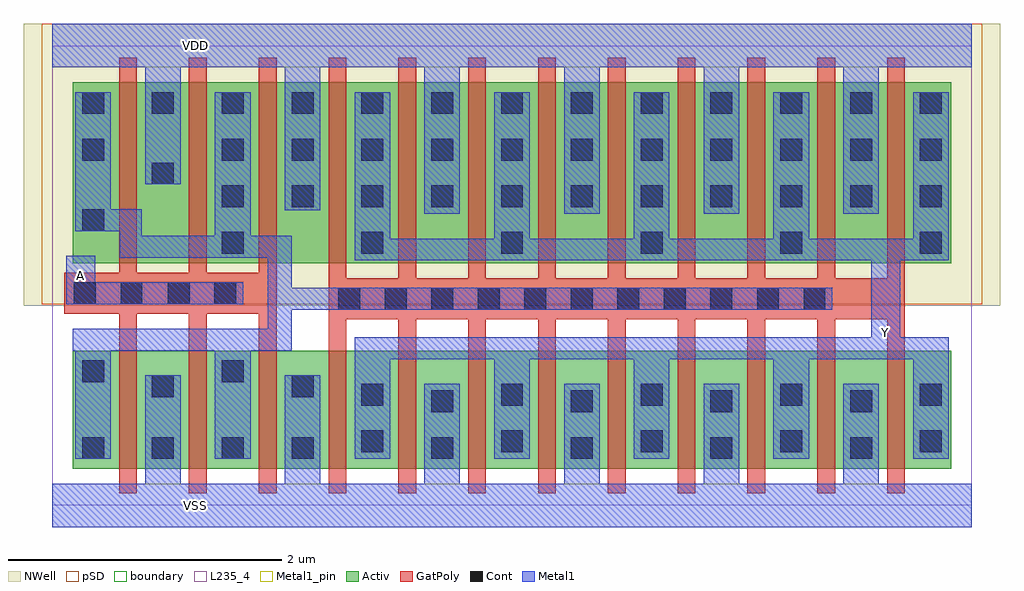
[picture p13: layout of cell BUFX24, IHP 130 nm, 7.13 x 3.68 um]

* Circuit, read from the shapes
.subckt BUFX24 A VDD VSS Y
XM1 VSS A n1 VSUBS sg13_lv_nmos w=0.86u l=0.13u m=3
XM2 Y n1 VSS VSUBS sg13_lv_nmos w=0.86u l=0.13u m=9
XM3 VDD A n1 n2 sg13_lv_pmos w=1.32u l=0.13u m=3
XM4 Y n1 VDD n2 sg13_lv_pmos w=1.32u l=0.13u m=9
.ends

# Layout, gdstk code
import gdstk
lib = gdstk.Library(unit=1e-6, precision=1e-09)
def R(c, l, rs):  # rectangles x0, y0, x1, y1
    for r in rs: c.add(gdstk.rectangle(r[:2], r[2:], *l))
def A(c, l, x, y, w, h, nx, ny, dx, dy):  # array of equal rectangles
    R(c, l, [(x+i*dx, y+j*dy, x+i*dx+w, y+j*dy+h) for i in range(nx) for j in range(ny)])
def P(c, l, *ps):  # polygons
    for p in ps: c.add(gdstk.Polygon(p, *l))
Activ = (1, 0)
GatPoly = (5, 0)
Cont = (6, 0)
Metal1 = (8, 0)
Metal1_pin = (8, 2)
pSD = (14, 0)
NWell = (31, 0)
boundary = (189, 4)
L235_4 = (235, 4)

bufx24 = lib.new_cell('BUFX24')
R(bufx24, Activ, [(0.15,0.27,6.57,1.13), (0.15,1.77,6.57,3.09)])
P(bufx24, GatPoly, [(2.02,0.09),(2.02,3.27),(2.15,3.27),(2.15,1.66),(2.53,1.66),(2.53,3.27),(2.66,3.27),(2.66,1.66),(3.04,1.66),(3.04,3.27),(3.17,3.27),(3.17,1.66),(3.55,1.66),(3.55,3.27),(3.68,3.27),(3.68,1.66),(4.06,1.66),(4.06,3.27),(4.19,3.27),(4.19,1.66),(4.57,1.66),(4.57,3.27),(4.7,3.27),(4.7,1.66),(5.08,1.66),(5.08,3.27),(5.21,3.27),(5.21,1.66),(5.59,1.66),(5.59,3.27),(5.72,3.27),(5.72,1.66),(6.1,1.66),(6.1,3.27),(6.23,3.27),(6.23,0.09),(6.1,0.09),(6.1,1.36),(5.72,1.36),(5.72,0.09),(5.59,0.09),(5.59,1.36),(5.21,1.36),(5.21,0.09),(5.08,0.09),(5.08,1.36),(4.7,1.36),(4.7,0.09),(4.57,0.09),(4.57,1.36),(4.19,1.36),(4.19,0.09),(4.06,0.09),(4.06,1.36),(3.68,1.36),(3.68,0.09),(3.55,0.09),(3.55,1.36),(3.17,1.36),(3.17,0.09),(3.04,0.09),(3.04,1.36),(2.66,1.36),(2.66,0.09),(2.53,0.09),(2.53,1.36),(2.15,1.36),(2.15,0.09)],
  [(0.49,0.09),(0.49,1.4),(0.09,1.4),(0.09,1.7),(0.49,1.7),(0.49,3.27),(0.62,3.27),(0.62,1.7),(1,1.7),(1,3.27),(1.13,3.27),(1.13,1.7),(1.51,1.7),(1.51,3.27),(1.64,3.27),(1.64,0.09),(1.51,0.09),(1.51,1.4),(1.13,1.4),(1.13,0.09),(1,0.09),(1,1.4),(0.62,1.4),(0.62,0.09)])
A(bufx24, Cont, 0.22, 0.34, 0.16, 0.16, 4, 1, 0.51, 0)
A(bufx24, Cont, 2.77, 0.34, 0.16, 0.16, 4, 2, 1.02, 0.34)
A(bufx24, Cont, 2.26, 0.39, 0.16, 0.16, 5, 2, 1.02, 0.34)
A(bufx24, Cont, 2.09, 1.43, 0.16, 0.16, 11, 1, 0.34, 0)
A(bufx24, Cont, 1.24, 1.84, 0.16, 0.16, 6, 1, 1.02, 0)
A(bufx24, Cont, 1.24, 2.18, 0.16, 0.16, 11, 2, 0.51, 0.34)
A(bufx24, Cont, 0.22, 2.86, 0.16, 0.16, 13, 1, 0.51, 0)
R(bufx24, Cont, [(0.73,0.79,0.89,0.95), (1.75,0.79,1.91,0.95), (0.22,0.9,0.38,1.06), (1.24,0.9,1.4,1.06), (0.16,1.47,0.32,1.63), (0.5,1.47,0.66,1.63), (0.845,1.47,1.005,1.63), (1.185,1.47,1.345,1.63), (0.22,2.005,0.38,2.165), (0.73,2.345,0.89,2.505), (0.22,2.52,0.38,2.68)])
P(bufx24, Metal1, [(0,-0.16),(0,0.16),(0.68,0.16),(0.68,0.95),(0.94,0.95),(0.94,0.16),(1.7,0.16),(1.7,0.95),(1.96,0.95),(1.96,0.16),(2.72,0.16),(2.72,0.89),(2.98,0.89),(2.98,0.16),(3.74,0.16),(3.74,0.89),(4,0.89),(4,0.16),(4.76,0.16),(4.76,0.89),(5.02,0.89),(5.02,0.16),(5.78,0.16),(5.78,0.89),(6.04,0.89),(6.04,0.16),(6.72,0.16),(6.72,-0.16)],
  [(2.72,2.13),(2.72,3.2),(1.96,3.2),(1.96,2.155),(1.7,2.155),(1.7,3.2),(0.94,3.2),(0.94,2.345),(0.68,2.345),(0.68,3.2),(0,3.2),(0,3.52),(6.72,3.52),(6.72,3.2),(6.04,3.2),(6.04,2.13),(5.78,2.13),(5.78,3.2),(5.02,3.2),(5.02,2.13),(4.76,2.13),(4.76,3.2),(4,3.2),(4,2.13),(3.74,2.13),(3.74,3.2),(2.98,3.2),(2.98,2.13)],
  [(2.21,0.34),(2.21,1.23),(5.985,1.23),(5.985,1.79),(2.21,1.79),(2.21,3.02),(2.47,3.02),(2.47,1.95),(3.23,1.95),(3.23,3.02),(3.49,3.02),(3.49,1.95),(4.25,1.95),(4.25,3.02),(4.51,3.02),(4.51,1.95),(5.27,1.95),(5.27,3.02),(5.53,3.02),(5.53,1.95),(6.29,1.95),(6.29,3.02),(6.55,3.02),(6.55,1.79),(6.195,1.79),(6.195,1.23),(6.55,1.23),(6.55,0.34),(6.29,0.34),(6.29,1.07),(5.53,1.07),(5.53,0.34),(5.27,0.34),(5.27,1.07),(4.51,1.07),(4.51,0.34),(4.25,0.34),(4.25,1.07),(3.49,1.07),(3.49,0.34),(3.23,0.34),(3.23,1.07),(2.47,1.07),(2.47,0.34)],
  [(0.17,0.34),(0.17,1.13),(0.15,1.13),(0.15,1.29),(1.575,1.29),(1.575,1.81),(0.495,1.81),(0.495,2.005),(0.17,2.005),(0.17,3.02),(0.43,3.02),(0.43,2.165),(0.655,2.165),(0.655,1.97),(1.19,1.97),(1.19,3.02),(1.45,3.02),(1.45,1.97),(1.75,1.97),(1.75,1.59),(5.7,1.59),(5.7,1.43),(1.75,1.43),(1.75,1.13),(1.45,1.13),(1.45,0.34),(1.19,0.34),(1.19,1.13),(0.43,1.13),(0.43,0.34)],
  [(0.105,1.47),(0.105,1.825),(0.315,1.825),(0.315,1.63),(1.395,1.63),(1.395,1.47)])
R(bufx24, Metal1_pin, [(0,-0.16,6.72,0.16), (0,3.2,6.72,3.52)])
P(bufx24, Metal1_pin, [(2.21,0.34),(2.21,1.23),(5.985,1.23),(5.985,1.79),(2.21,1.79),(2.21,3.02),(2.47,3.02),(2.47,1.95),(3.23,1.95),(3.23,3.02),(3.49,3.02),(3.49,1.95),(4.25,1.95),(4.25,3.02),(4.51,3.02),(4.51,1.95),(5.27,1.95),(5.27,3.02),(5.53,3.02),(5.53,1.95),(6.29,1.95),(6.29,3.02),(6.55,3.02),(6.55,1.79),(6.195,1.79),(6.195,1.23),(6.55,1.23),(6.55,0.34),(6.29,0.34),(6.29,1.07),(5.53,1.07),(5.53,0.34),(5.27,0.34),(5.27,1.07),(4.51,1.07),(4.51,0.34),(4.25,0.34),(4.25,1.07),(3.49,1.07),(3.49,0.34),(3.23,0.34),(3.23,1.07),(2.47,1.07),(2.47,0.34)],
  [(0.105,1.47),(0.105,1.825),(0.315,1.825),(0.315,1.63),(1.395,1.63),(1.395,1.47)])
R(bufx24, pSD, [(-0.075,1.47,6.795,3.52)])
R(bufx24, NWell, [(-0.205,1.46,6.925,3.52)])
R(bufx24, boundary, [(0,0,6.72,3.36)])
R(bufx24, L235_4, [(0,0,6.72,3.36)])
bufx24.add(gdstk.Label('VSS', (1.05,0), layer=8, texttype=25))
bufx24.add(gdstk.Label('VDD', (1.05,3.36), layer=8, texttype=25))
bufx24.add(gdstk.Label('Y', (6.09,1.26), layer=8, texttype=25))
bufx24.add(gdstk.Label('A', (0.21,1.68), layer=8, texttype=25))

lib.write_gds('BUFX24.gds')
